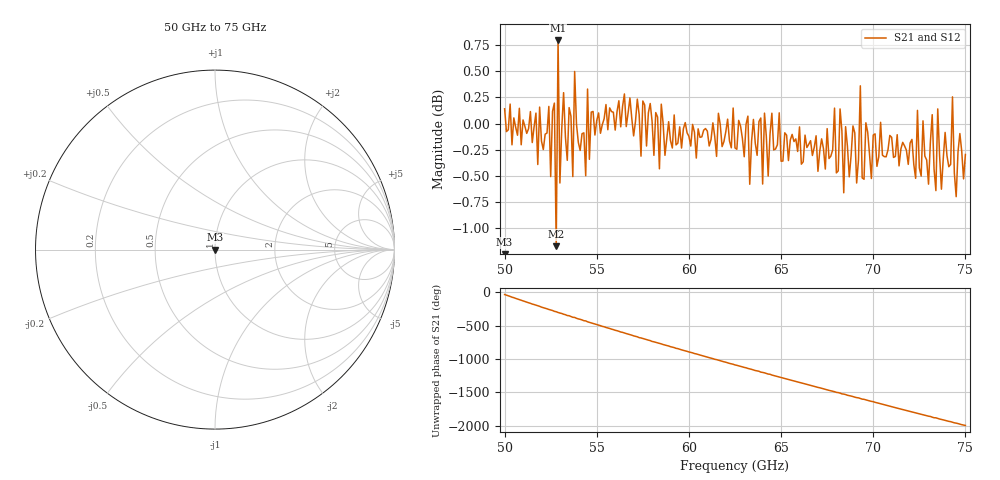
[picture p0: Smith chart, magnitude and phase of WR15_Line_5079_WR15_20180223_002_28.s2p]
# GHZ S RI R 50
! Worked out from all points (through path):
!   251 points, 50 GHz to 75 GHz, reference 50 ohm
!   highest |S21| = 0.79 dB at 52.9 GHz (marker M1); lowest = -1.2 dB at 52.8 GHz (marker M2)
!   lowest |S11| = - dB at 50 GHz (marker M3), VSWR 1.00, Z = 50 - j2.08e-15 ohm
!   |S11| at or under -10 dB: start of sweep to end of sweep
!   |S22| runs from - to - dB; largest |S21 - S12| = 1e-14
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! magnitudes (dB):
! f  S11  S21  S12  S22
! 50 GHz  -  0.1  0.1  -
! 51.8 GHz  -  -0.4  -0.4  -
! 52.4 GHz  -  0.2  0.2  -
! 52.5 GHz  -  -0.5  -0.5  -
! 52.7 GHz  -  0.2  0.2  -
! 52.8 GHz  -  -1.2  -1.2  -
! 52.9 GHz  -  0.8  0.8  -
! 53 GHz  -  -0.6  -0.6  -
! 53.2 GHz  -  0.3  0.3  -
! 53.7 GHz  -  -0.5  -0.5  -
! 53.8 GHz  -  0.5  0.5  -
! 54.2 GHz  -  -0.1  -0.1  -
! 57.9 GHz  -  0.2  0.2  -
! 58.4 GHz  -  -0.4  -0.4  -
! 58.5 GHz  -  0.2  0.2  -
! 62.5 GHz  -  -0.2  -0.2  -
! 66.7 GHz  -  -0.3  -0.3  -
! 69.1 GHz  -  -0.6  -0.6  -
! 69.3 GHz  -  0.4  0.4  -
! 69.4 GHz  -  -0.5  -0.5  -
! 70.9 GHz  -  -0.1  -0.1  -
! 75 GHz  -  -0.3  -0.3  -
